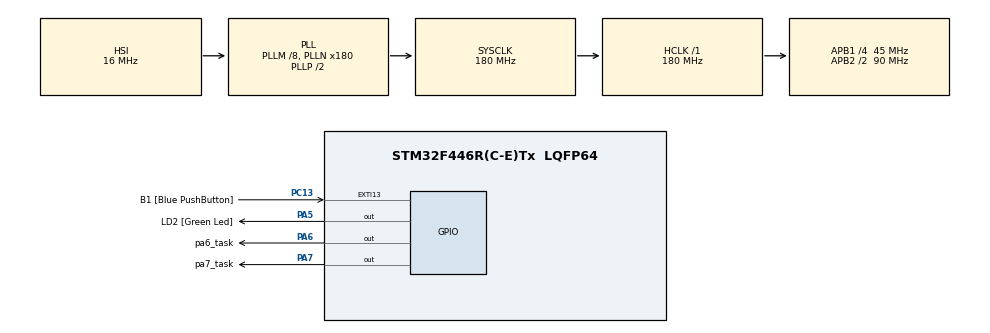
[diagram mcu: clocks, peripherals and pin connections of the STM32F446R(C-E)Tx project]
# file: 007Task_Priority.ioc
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Mcu.Family=STM32F4
Mcu.Name=STM32F446R(C-E)Tx
Mcu.Package=LQFP64
NVIC.EXTI15_10_IRQn=true\:6\:0\:true\:false\:true\:true\:true\:true
NVIC.PriorityGroup=NVIC_PRIORITYGROUP_4
NVIC.TIM6_DAC_IRQn=true\:0\:0\:false\:false\:true\:false\:true\:true
NVIC.TimeBase=TIM6_DAC_IRQn
NVIC.TimeBaseIP=TIM6
PA13.GPIO_Label=TMS
PA13.Signal=SYS_JTMS-SWDIO
PA14.GPIO_Label=TCK
PA14.Signal=SYS_JTCK-SWCLK
PA2.GPIO_Label=USART_TX
PA2.Signal=USART2_TX
PA3.GPIO_Label=USART_RX
PA3.Signal=USART2_RX
PA5.GPIO_Label=LD2 [Green Led]
PA5.Signal=GPIO_Output
PA6.GPIO_Label=pa6_task
PA6.Signal=GPIO_Output
PA7.GPIO_Label=pa7_task
PA7.Signal=GPIO_Output
PB3.GPIO_Label=SWO
PB3.Signal=SYS_JTDO-SWO
PC13.GPIO_Label=B1 [Blue PushButton]
PC13.GPIO_ModeDefaultEXTI=GPIO_MODE_IT_FALLING
PC13.Signal=GPXTI13
PC14-OSC32_IN.Signal=RCC_OSC32_IN
PC15-OSC32_OUT.Signal=RCC_OSC32_OUT
PH0-OSC_IN.Signal=RCC_OSC_IN
PH1-OSC_OUT.Signal=RCC_OSC_OUT
ProjectManager.HeapSize=0x200
ProjectManager.StackSize=0x400
ProjectManager.TargetToolchain=STM32CubeIDE
RCC.AHBFreq_Value=180000000
RCC.APB1CLKDivider=RCC_HCLK_DIV4
RCC.APB1Freq_Value=45000000
RCC.APB1TimFreq_Value=90000000
RCC.APB2CLKDivider=RCC_HCLK_DIV2
RCC.APB2Freq_Value=90000000
RCC.APB2TimFreq_Value=180000000
RCC.CortexFreq_Value=180000000
RCC.FLatency-AdvancedSettings=FLASH_LATENCY_5
RCC.HCLKFreq_Value=180000000
RCC.HSE_VALUE=8000000
RCC.HSI_VALUE=16000000
RCC.LSE_VALUE=32768
RCC.PLLM=8
RCC.PLLN=180
RCC.SYSCLKFreq_VALUE=180000000
RCC.SYSCLKSource=RCC_SYSCLKSOURCE_PLLCLK
RCC.USBFreq_Value=180000000
RCC.VCOOutputFreq_Value=360000000
VP_SYS_VS_tim6.Mode=TIM6
board=NUCLEO-F446RE

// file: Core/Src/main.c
/* USER CODE BEGIN Header */
/**
  ******************************************************************************
  * @file           : main.c
  * @brief          : Main program body
  ******************************************************************************
  * @attention
  *
  * Copyright (c) 2025 STMicroelectronics.
  * All rights reserved.
  *
  * This software is licensed under terms that can be found in the LICENSE file
  * in the root directory of this software component.
  * If no LICENSE file comes with this software, it is provided AS-IS.
  *
  ******************************************************************************
  */
/* USER CODE END Header */
#include "main.h"

/* USER CODE BEGIN Includes */
#include "FreeRTOS.h"
#include "task.h"
#include <stdint.h>
/* USER CODE END Includes */

/* USER CODE BEGIN PD */
#define DWT_CTRL_REG 		(*(volatile uint32_t *)0xE0001000)
/* USER CODE END PD */

/* USER CODE BEGIN PV */
TaskHandle_t volatile nextTaskToBeSuspended_Handle = NULL;
TaskHandle_t led_Handle, gpioA6_Handle, gpioA7_Handle, btn_Handle;
volatile BaseType_t btn_press_status = 0;

/* USER CODE END PV */

void SystemClock_Config(void);
static void MX_GPIO_Init(void);
/* USER CODE BEGIN PFP */
static void user_led_handler (void *param);
static void gpioA_pin6_handler (void *param);
//static void gpioA_pin7_handler(void *param);
//static void btn_handler(void *param);
static void switch_priority(void);

void btn_interrupt_handler(void);

extern  void SEGGER_UART_init(uint32_t);
/* USER CODE END PFP */

int main(void)
{

  /* USER CODE BEGIN 1 */
	BaseType_t status;

  /* USER CODE END 1 */

  /* MCU Configuration--------------------------------------------------------*/

  /* Reset of all peripherals, Initializes the Flash interface and the Systick. */
  HAL_Init();

  /* Configure the system clock */
  SystemClock_Config();

  /* Initialize all configured peripherals */
  MX_GPIO_Init();
  /* USER CODE BEGIN 2 */
  //Enable the Data watch
  DWT_CTRL_REG |= (1 << 0);

  //Enable Segger uart continuous record
  SEGGER_UART_init(500000);

  //Enable Segger and call
  SEGGER_SYSVIEW_Conf();
  //SEGGER_SYSVIEW_Start();

  status = xTaskCreate(user_led_handler, "User_LED", 200, NULL, 3, &led_Handle);
  configASSERT(status == pdPASS);

  nextTaskToBeSuspended_Handle = led_Handle;

  status = xTaskCreate(gpioA_pin6_handler, "portA6_Toggle", 200, NULL, 2, &gpioA6_Handle);
  configASSERT(status == pdPASS);

  //status = xTaskCreate(gpioA_pin7_handler, "portA&_Toggle", 200, NULL, 1, &gpioA7_Handle);
  //configASSERT(status == pdPASS);

  //status = xTaskCreate(btn_handler, "Button Press", 200, NULL, 4, &btn_Handle);
  //configASSERT(status == pdPASS);

  //start the freertos scheduler
  vTaskStartScheduler();

  //if control comes here means there is not enough heap memory to launch the scheduler

  /* USER CODE END 2 */

  /* Infinite loop */
  while (1)
  {

  }
}

void SystemClock_Config(void)
{
  RCC_OscInitTypeDef RCC_OscInitStruct = {0};
  RCC_ClkInitTypeDef RCC_ClkInitStruct = {0};

  /** Configure the main internal regulator output voltage
  */
  __HAL_RCC_PWR_CLK_ENABLE();
  __HAL_PWR_VOLTAGESCALING_CONFIG(PWR_REGULATOR_VOLTAGE_SCALE1);

  /** Initializes the RCC Oscillators according to the specified parameters
  * in the RCC_OscInitTypeDef structure.
  */
  RCC_OscInitStruct.OscillatorType = RCC_OSCILLATORTYPE_HSI;
  RCC_OscInitStruct.HSIState = RCC_HSI_ON;
  RCC_OscInitStruct.HSICalibrationValue = RCC_HSICALIBRATION_DEFAULT;
  RCC_OscInitStruct.PLL.PLLState = RCC_PLL_ON;
  RCC_OscInitStruct.PLL.PLLSource = RCC_PLLSOURCE_HSI;
  RCC_OscInitStruct.PLL.PLLM = 8;
  RCC_OscInitStruct.PLL.PLLN = 180;
  RCC_OscInitStruct.PLL.PLLP = RCC_PLLP_DIV2;
  RCC_OscInitStruct.PLL.PLLQ = 2;
  RCC_OscInitStruct.PLL.PLLR = 2;
  if (HAL_RCC_OscConfig(&RCC_OscInitStruct) != HAL_OK)
  {
    Error_Handler();
  }

  /** Activate the Over-Drive mode
  */
  if (HAL_PWREx_EnableOverDrive() != HAL_OK)
  {
    Error_Handler();
  }

  /** Initializes the CPU, AHB and APB buses clocks
  */
  RCC_ClkInitStruct.ClockType = RCC_CLOCKTYPE_HCLK|RCC_CLOCKTYPE_SYSCLK
                              |RCC_CLOCKTYPE_PCLK1|RCC_CLOCKTYPE_PCLK2;
  RCC_ClkInitStruct.SYSCLKSource = RCC_SYSCLKSOURCE_PLLCLK;
  RCC_ClkInitStruct.AHBCLKDivider = RCC_SYSCLK_DIV1;
  RCC_ClkInitStruct.APB1CLKDivider = RCC_HCLK_DIV4;
  RCC_ClkInitStruct.APB2CLKDivider = RCC_HCLK_DIV2;

  if (HAL_RCC_ClockConfig(&RCC_ClkInitStruct, FLASH_LATENCY_5) != HAL_OK)
  {
    Error_Handler();
  }
}

static void MX_GPIO_Init(void)
{
  GPIO_InitTypeDef GPIO_InitStruct = {0};
  /* USER CODE BEGIN MX_GPIO_Init_1 */
  //GPIO_InitTypeDef GPIO_InitTask = {0};
  /* USER CODE END MX_GPIO_Init_1 */

  /* GPIO Ports Clock Enable */
  __HAL_RCC_GPIOC_CLK_ENABLE();
  __HAL_RCC_GPIOH_CLK_ENABLE();
  __HAL_RCC_GPIOA_CLK_ENABLE();
  __HAL_RCC_GPIOB_CLK_ENABLE();

  /*Configure GPIO pin Output Level */
  HAL_GPIO_WritePin(GPIOA, LD2_Pin|pa6_task_Pin|pa7_task_Pin, GPIO_PIN_RESET);

  /*Configure GPIO pin : B1_Pin */
  GPIO_InitStruct.Pin = B1_Pin;
  GPIO_InitStruct.Mode = GPIO_MODE_IT_FALLING;
  GPIO_InitStruct.Pull = GPIO_NOPULL;
  HAL_GPIO_Init(B1_GPIO_Port, &GPIO_InitStruct);

  /*Configure GPIO pins : USART_TX_Pin USART_RX_Pin */
  GPIO_InitStruct.Pin = USART_TX_Pin|USART_RX_Pin;
  GPIO_InitStruct.Mode = GPIO_MODE_AF_PP;
  GPIO_InitStruct.Pull = GPIO_NOPULL;
  GPIO_InitStruct.Speed = GPIO_SPEED_FREQ_VERY_HIGH;
  GPIO_InitStruct.Alternate = GPIO_AF7_USART2;
  HAL_GPIO_Init(GPIOA, &GPIO_InitStruct);

  /*Configure GPIO pins : LD2_Pin pa6_task_Pin pa7_task_Pin */
  GPIO_InitStruct.Pin = LD2_Pin|pa6_task_Pin|pa7_task_Pin;
  GPIO_InitStruct.Mode = GPIO_MODE_OUTPUT_PP;
  GPIO_InitStruct.Pull = GPIO_NOPULL;
  GPIO_InitStruct.Speed = GPIO_SPEED_FREQ_LOW;
  HAL_GPIO_Init(GPIOA, &GPIO_InitStruct);

  /* EXTI interrupt init*/
  HAL_NVIC_SetPriority(EXTI15_10_IRQn, 6, 0);
  HAL_NVIC_EnableIRQ(EXTI15_10_IRQn);

  /* USER CODE BEGIN MX_GPIO_Init_2 */
  //GPIO_InitTask.Mode = GPIO_MODE_OUTPUT_PP;
  //GPIO_InitTask.Pin = GPIO_PIN_5 | GPIO_PIN_6 | GPIO_PIN_7;

  //HAL_GPIO_Init(GPIOA, &GPIO_InitTask);

  /* USER CODE END MX_GPIO_Init_2 */
}

/* USER CODE BEGIN 4 */
#if 0
void btn_interrupt_handler(void){
	 BaseType_t  pxHigherPriorityTaskWoken;
	 pxHigherPriorityTaskWoken = pdFALSE;

	traceISR_ENTER();
	xTaskNotifyFromISR(nextTaskToBeSuspended_Handle, 0, eNoAction, &pxHigherPriorityTaskWoken);

	/* once the isr exists this macro makes the higher priority task which got unblocked to resume on the cpu */
	portYIELD_FROM_ISR(pxHigherPriorityTaskWoken);
	traceISR_EXIT();

}
#endif

static void switch_priority(void){

	UBaseType_t  led_priority, gpioA6_priority;
	BaseType_t switch_priority = 0;
	xTaskHandle current;

	/* access the shares variable */
	portENTER_CRITICAL();
	if(btn_press_status){
		btn_press_status = 0;
		switch_priority = 1;
	}
	portEXIT_CRITICAL();

	if(switch_priority){

		/* get priority of tasks */
		led_priority = uxTaskPriorityGet(led_Handle);
		gpioA6_priority = uxTaskPriorityGet(gpioA6_Handle);

		/* get current tak handle. useful to change current tak priority first
		 * as set priority triggers context switching */
		current = xTaskGetCurrentTaskHandle();

		/* switch priority */
		if(current == led_Handle){
			vTaskPrioritySet(led_Handle, gpioA6_priority);
			vTaskPrioritySet(gpioA6_Handle, led_priority);
		}else{
			vTaskPrioritySet(gpioA6_Handle, led_priority);
			vTaskPrioritySet(led_Handle, gpioA6_priority);
		}

	}

}

void btn_interrupt_handler(void){
	traceISR_ENTER();
	btn_press_status = 1;
	traceISR_EXIT();

}

void user_led_handler(void *param){
	//BaseType_t status;

	while(1){
		HAL_GPIO_TogglePin(GPIOA, GPIO_PIN_5);
		SEGGER_SYSVIEW_PrintfTarget("user_led_task");
		HAL_Delay(1000);
		switch_priority();
#if 0
		status = xTaskNotifyWait(0, 0, NULL, pdMS_TO_TICKS(1000));
		if(status == pdPASS){
			portENTER_CRITICAL();
			nextTaskToBeSuspended_Handle = gpioA6_Handle;
			portEXIT_CRITICAL();
			HAL_GPIO_WritePin(GPIOA,GPIO_PIN_5, GPIO_PIN_SET);
			SEGGER_SYSVIEW_PrintfTarget("Delete user_led_task");
			vTaskDelete(NULL);
		}
#endif
	}

}

void gpioA_pin6_handler(void *param){
	//BaseType_t status;

	while(1){
		HAL_GPIO_TogglePin(GPIOA, GPIO_PIN_6);
		SEGGER_SYSVIEW_PrintfTarget("gpioa6_task");
		HAL_Delay(100);
		switch_priority();
#if 0
		status = xTaskNotifyWait(0, 0, NULL, pdMS_TO_TICKS(800));
		//taskYIELD();
		if(status == pdPASS){
			portENTER_CRITICAL();
			nextTaskToBeSuspended_Handle = gpioA7_Handle;
			portEXIT_CRITICAL();
			HAL_GPIO_WritePin(GPIOA,GPIO_PIN_6, GPIO_PIN_SET);
			SEGGER_SYSVIEW_PrintfTarget("Delete gpioa6_task");
			vTaskDelete(NULL);
		}
#endif
	}

}

#if 0
void gpioA_pin7_handler(void *param){
	BaseType_t status;

	while(1){
		HAL_GPIO_TogglePin(GPIOA, GPIO_PIN_7);
		SEGGER_SYSVIEW_PrintfTarget("gpioa7_task");
		status = xTaskNotifyWait(0, 0, NULL, pdMS_TO_TICKS(400));
		if(status == pdPASS){
			portENTER_CRITICAL();
			nextTaskToBeSuspended_Handle = NULL;
			portEXIT_CRITICAL();
			HAL_GPIO_WritePin(GPIOA,GPIO_PIN_7, GPIO_PIN_SET);
			vTaskDelete(btn_Handle);
			SEGGER_SYSVIEW_PrintfTarget("Delete gpioa6_task and button task");
			vTaskDelete(NULL);
		}

	}

}
#endif

#if 0
void btn_handler(void *param){

	static uint8_t prev_read = 1;
	uint8_t read = 1;
	while(1){

		read = HAL_GPIO_ReadPin(GPIOC, GPIO_PIN_13);
		if( !read){
			if(prev_read){
				xTaskNotify(nextTaskToBeDeleted_Handle, 0, eNoAction);
			}

		}
		prev_read = read;
		SEGGER_SYSVIEW_PrintfTarget("btn_task");
		vTaskDelay(pdMS_TO_TICKS(10));
		//taskYIELD();
	}

}
#endif
/* USER CODE END 4 */

void HAL_TIM_PeriodElapsedCallback(TIM_HandleTypeDef *htim)
{
  if (htim->Instance == TIM6)
  {
    HAL_IncTick();
  }
}

void Error_Handler(void)
{
  __disable_irq();
  while (1)
  {
  }
}
